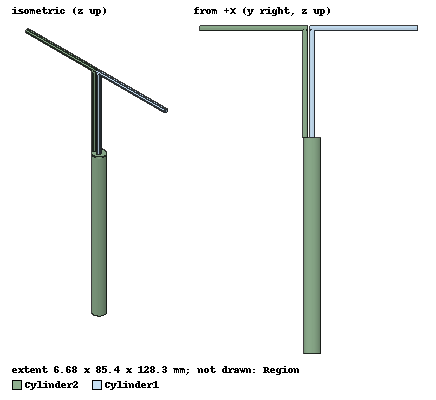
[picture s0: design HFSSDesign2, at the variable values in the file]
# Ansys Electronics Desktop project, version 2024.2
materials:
  Rogers RO3003 (tm): permittivity=3 dielectric_loss_tangent=0.0013
  vacuum: permittivity=1
  Teflon (tm): permittivity=2.1 dielectric_loss_tangent=0.001

design HFSSDesign2 (HFSS, HFSS Modal Network, model units mm)
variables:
  lamda = 10mm
  labmda = lamda
  lambda = labmda
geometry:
  Cylinder1 [vacuum] = cylinder(axis=Z, base_centre=(0mm, 0mm, 0mm), radius=1mm, height=8.44cm)
  Cylinder2 [Teflon (tm)] = cylinder(axis=Z, base_centre=(0mm, 0mm, 0mm), radius=3.34mm, height=8.44cm)
  Cylinder1_1 = Cylinder1.copy()
  Cylinder2.subtract(Cylinder1_1)
  Cylinder3 = cylinder(axis=Z, base_centre=(-1mm, 0mm, 84.4mm), radius=1mm, height=(8.44/2) cm)
  Cylinder3.move(1mm, 0mm, 0mm)
  Cylinder3_1 = Cylinder3.duplicate_along_line(step=(0mm, -3mm, -0.4mm), total=2)
  Cylinder3_1.move(0mm, 0mm, 0.5mm)
  Cylinder3_2 = Cylinder3.duplicate_around_axis(axis=X, angle=90deg, total=2)
  Cylinder3_2.move(-28mm, 86mm, 0mm)
  Cylinder3_2.move(25mm, 0mm, 130mm)
  Cylinder3_2.move(4mm, -1.6mm, 0mm)
  Cylinder3_2.move(0mm, -4mm, -3.3mm)
  Cylinder3_2.move(-1mm, 0mm, 0.6mm)
  Cylinder3_2.move(0mm, 2mm, 0mm)
  Cylinder3_2_1 = Cylinder3_2.duplicate_around_axis(axis=Z, angle=180deg, total=2)
  Cylinder3_2_1.move(0mm, -3mm, 0mm)
  Cylinder3.unite(Cylinder3_2_1)
  Cylinder1.unite(Cylinder3)
  Cylinder3_1.unite(Cylinder3_2)
  Cylinder2.unite(Cylinder3_1)
  Region [vacuum] = region(absolute_offset=10mm on all sides)
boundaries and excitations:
  PerfE2: Perfect E Objects=Cylinder2
  PerfE3: Perfect E Objects=Cylinder1
  1: Wave Port Faces=Cylinder2.face(+z end) WavePortType=Modal NumModes=1 Modes{Mode1{IntLine{(2400mm, 2200mm, 84400mm) -> (0.6, 0.8, 84.4)} CharImp=Zpi}}
  2: Wave Port Faces=Cylinder2.face(-z end) WavePortType=Modal NumModes=1 Modes{Mode1{IntLine{(2500mm, 2000mm, 0mm) -> (0.8, 0.6, 0)} CharImp=Zpi}}
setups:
  Setup1: HfssDriven Frequency=2.45GHz MaxDeltaS=0.02 MaximumPasses=6 MinimumPasses=1 MinimumConvergedPasses=1 PercentRefinement=30 BasisOrder=1 PortAccuracy=2 DrivenSolverType="Direct Solver"
    sweep Sweep: 1.45GHz to 3.45GHz step 0.001GHz; Type=Interpolating InterpTolerance=0.5 InterpMaxSolns=250 InterpUsePortImped=false PassivityErrorTolerance=0.0001
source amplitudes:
  1:1: 1W 0deg
  2:1: 0W 0deg
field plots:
  Mag_E1, Mag_E2: E Field over a plane on Setup1 : LastAdaptive at Freq=2.45GHz Phase=0deg
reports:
  S Parameter Plot 1: dB(S(1,1)) vs Freq on Setup1 : Sweep
  VSWR Plot 1: VSWR(1) vs Freq on Setup1 : Sweep
